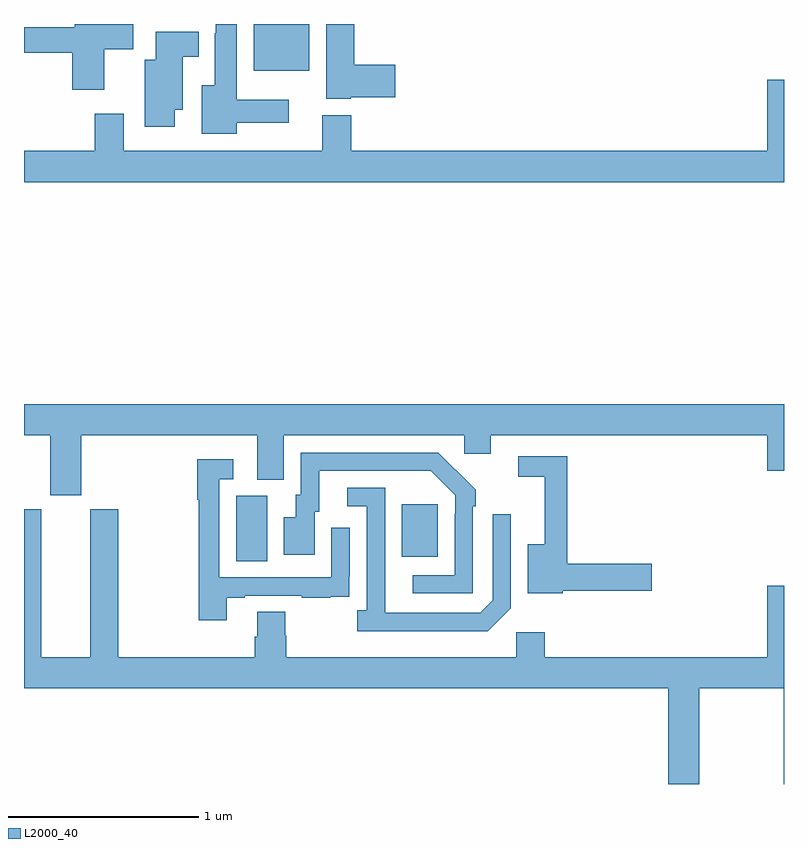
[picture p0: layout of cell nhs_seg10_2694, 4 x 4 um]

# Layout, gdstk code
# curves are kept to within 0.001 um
import gdstk
lib = gdstk.Library(unit=1e-6, precision=1e-09)
def R(c, l, rs):  # rectangles x0, y0, x1, y1
    for r in rs: c.add(gdstk.rectangle(r[:2], r[2:], *l))
def P(c, l, *ps):  # polygons
    for p in ps: c.add(gdstk.Polygon(p, *l))
L2000_40 = (2000, 40)

nhs_seg10_2694 = lib.new_cell('nhs_seg10_2694')
R(nhs_seg10_2694, L2000_40, [(258.116,1279.672,258.28,1280.016), (258.989,1279.697,259.177,1279.972), (258.209,1282.253,258.502,1282.5)])
P(nhs_seg10_2694, L2000_40, [(257.422,1282.366),(257.575,1282.366),(257.575,1282.5),(257.267,1282.5),(257.267,1282.484),(257,1282.484),(257,1282.348),(257.255,1282.348),(257.255,1282.155),(257.422,1282.155)],
  [(258.121,1281.98),(258.394,1281.98),(258.394,1282.102),(258.121,1282.102),(258.121,1282.5),(258.009,1282.5),(258.009,1282.451),(258.005,1282.451),(258.005,1282.177),(257.936,1282.177),(257.936,1281.923),(258.121,1281.923)],
  [(258.72,1282.115),(258.955,1282.115),(258.955,1282.286),(258.737,1282.286),(258.737,1282.5),(258.59,1282.5),(258.59,1282.106),(258.72,1282.106)],
  [(257.794,1282.049),(257.836,1282.049),(257.836,1282.328),(257.92,1282.328),(257.92,1282.459),(257.693,1282.459),(257.693,1282.312),(257.636,1282.312),(257.636,1281.96),(257.794,1281.96)],
  [(257.372,1282.027),(257.372,1281.832),(257,1281.832),(257,1281.668),(261,1281.668),(261,1282.207),(260.912,1282.207),(260.912,1281.832),(258.722,1281.832),(258.722,1282.021),(258.569,1282.021),(258.569,1281.832),(257.524,1281.832),(257.524,1282.027)],
  [(257.302,1280.336),(258.227,1280.336),(258.227,1280.101),(258.367,1280.101),(258.367,1280.336),(259.317,1280.336),(259.317,1280.238),(259.456,1280.238),(259.456,1280.336),(260.912,1280.336),(260.912,1280.148),(261,1280.148),(261,1280.5),(257,1280.5),(257,1280.336),(257.138,1280.336),(257.138,1280.019),(257.302,1280.019)],
  [(259.362,1279.961),(259.377,1279.961),(259.377,1280.049),(259.18,1280.244),(258.456,1280.244),(258.456,1280.022),(258.431,1280.022),(258.431,1279.903),(258.368,1279.903),(258.368,1279.707),(258.529,1279.707),(258.529,1279.932),(258.553,1279.932),(258.553,1280.148),(259.141,1280.148),(259.269,1280.019),(259.269,1279.919),(259.266,1279.919),(259.266,1279.599),(259.047,1279.599),(259.047,1279.503),(259.362,1279.503)],
  [(259.836,1279.516),(260.305,1279.516),(260.305,1279.658),(259.859,1279.658),(259.859,1280.226),(259.602,1280.226),(259.602,1280.118),(259.742,1280.118),(259.742,1279.762),(259.652,1279.762),(259.652,1279.505),(259.836,1279.505)],
  [(258.067,1279.479),(258.163,1279.479),(258.163,1279.491),(258.463,1279.491),(258.463,1279.479),(258.611,1279.479),(258.611,1279.485),(258.713,1279.485),(258.713,1279.594),(258.714,1279.594),(258.714,1279.849),(258.618,1279.849),(258.618,1279.587),(258.027,1279.587),(258.027,1280.103),(258.1,1280.103),(258.1,1280.209),(257.911,1280.209),(257.911,1279.996),(257.919,1279.996),(257.919,1279.362),(258.067,1279.362)],
  [(259.563,1279.425),(259.563,1279.921),(259.467,1279.921),(259.467,1279.467),(259.401,1279.401),(258.901,1279.401),(258.9,1280.058),(258.702,1280.058),(258.702,1279.962),(258.804,1279.962),(258.804,1279.414),(258.753,1279.414),(258.753,1279.304),(259.442,1279.304)],
  [(260.392,1278.5),(260.553,1278.5),(260.553,1279.004),(260.998,1279.004),(260.998,1278.5),(261,1278.5),(261,1279.543),(260.912,1279.543),(260.912,1279.168),(259.742,1279.168),(259.742,1279.3),(259.59,1279.3),(259.59,1279.168),(258.38,1279.168),(258.38,1279.281),(258.375,1279.281),(258.375,1279.406),(258.227,1279.406),(258.227,1279.274),(258.215,1279.274),(258.215,1279.168),(257.496,1279.168),(257.496,1279.947),(257.348,1279.947),(257.348,1279.168),(257.092,1279.168),(257.092,1279.947),(257,1279.947),(257,1279.004),(260.392,1279.004)])

lib.write_gds('nhs_seg10_2694.gds')
